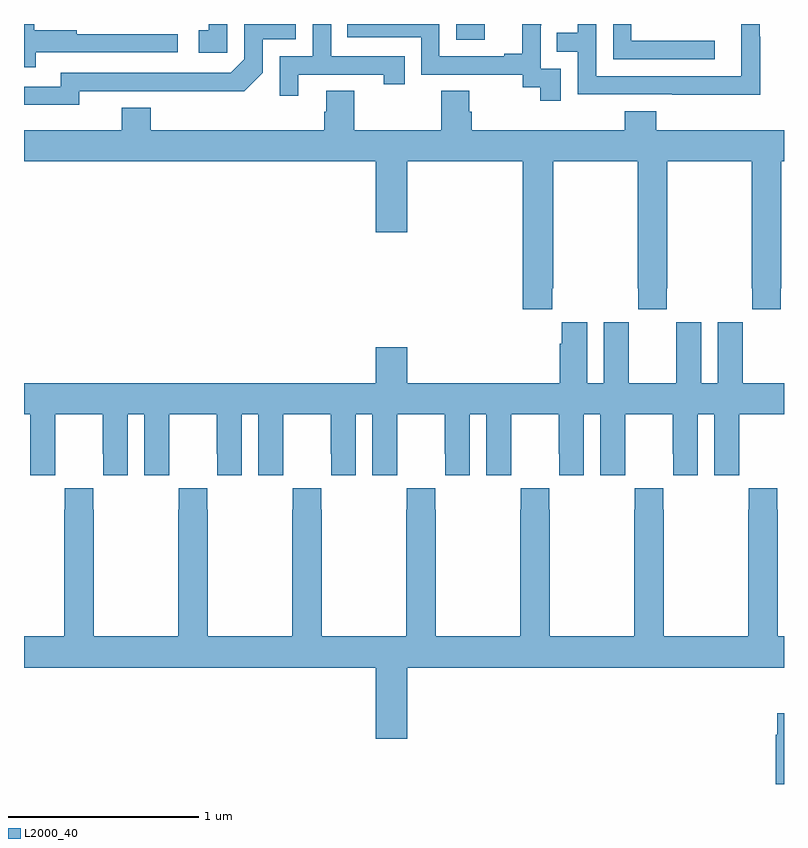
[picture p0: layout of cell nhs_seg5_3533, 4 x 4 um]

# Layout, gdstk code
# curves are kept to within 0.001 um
import gdstk
lib = gdstk.Library(unit=1e-6, precision=1e-09)
def R(c, l, rs):  # rectangles x0, y0, x1, y1
    for r in rs: c.add(gdstk.rectangle(r[:2], r[2:], *l))
def P(c, l, *ps):  # polygons
    for p in ps: c.add(gdstk.Polygon(p, *l))
L2000_40 = (2000, 40)

nhs_seg5_3533 = lib.new_cell('nhs_seg5_3533')
R(nhs_seg5_3533, L2000_40, [(321.276,874.716,321.424,874.799)])
P(nhs_seg5_3533, L2000_40, [(322.875,874.733),(322.872,874.733),(322.872,874.799),(322.776,874.799),(322.776,874.778),(322.775,874.778),(322.775,874.524),(322.011,874.524),(322.011,874.799),(321.915,874.799),(321.915,874.754),(321.805,874.754),(321.805,874.653),(321.915,874.653),(321.915,874.428),(322.411,874.428),(322.411,874.427),(322.875,874.427)],
  [(320.443,874.533),(320.894,874.533),(320.894,874.482),(321.005,874.482),(321.005,874.629),(320.616,874.629),(320.616,874.799),(320.52,874.799),(320.52,874.629),(320.346,874.629),(320.346,874.422),(320.443,874.422)],
  [(319.061,874.65),(319.81,874.65),(319.81,874.746),(319.277,874.746),(319.277,874.766),(319.054,874.766),(319.054,874.799),(319,874.799),(319,874.572),(319.061,874.572)],
  [(319.29,874.446),(320.158,874.445),(320.256,874.542),(320.256,874.719),(320.43,874.719),(320.43,874.799),(320.16,874.799),(320.16,874.614),(320.088,874.542),(319.194,874.542),(319.194,874.47),(319,874.47),(319,874.373),(319.29,874.373)],
  [(321.825,874.563),(321.72,874.563),(321.72,874.793),(321.722,874.793),(321.722,874.799),(321.623,874.799),(321.623,874.642),(321.527,874.642),(321.527,874.629),(321.186,874.629),(321.186,874.799),(320.701,874.799),(320.701,874.728),(321.09,874.728),(321.09,874.533),(321.624,874.533),(321.624,874.465),(321.717,874.465),(321.717,874.395),(321.825,874.395)],
  [(320.07,874.799),(319.973,874.799),(319.973,874.767),(319.92,874.767),(319.92,874.647),(320.07,874.647)],
  [(322.636,874.71),(322.197,874.71),(322.197,874.799),(322.101,874.799),(322.101,874.614),(322.636,874.614)],
  [(321.779,873.409),(321.786,873.409),(321.786,874.076),(322.231,874.076),(322.231,873.409),(322.233,873.409),(322.233,873.297),(322.383,873.297),(322.383,873.409),(322.386,873.409),(322.386,874.076),(322.831,874.076),(322.831,873.409),(322.833,873.409),(322.833,873.297),(322.983,873.297),(322.983,873.409),(322.986,873.409),(322.986,874.076),(323,874.076),(323,874.24),(322.328,874.24),(322.328,874.339),(322.163,874.339),(322.163,874.24),(321.356,874.24),(321.356,874.338),(321.343,874.338),(321.343,874.448),(321.196,874.448),(321.196,874.24),(320.739,874.24),(320.739,874.448),(320.591,874.448),(320.591,874.338),(320.579,874.338),(320.579,874.24),(319.667,874.24),(319.667,874.357),(319.514,874.357),(319.514,874.24),(319,874.24),(319,874.076),(320.852,874.076),(320.852,873.702),(321.016,873.702),(321.016,874.076),(321.626,874.076),(321.626,873.297),(321.779,873.297)],
  [(319.164,872.536),(319.165,872.536),(319.165,872.744),(319.415,872.744),(319.415,872.536),(319.416,872.536),(319.416,872.424),(319.546,872.424),(319.546,872.744),(319.634,872.744),(319.634,872.424),(319.764,872.424),(319.764,872.536),(319.765,872.536),(319.765,872.744),(320.015,872.744),(320.015,872.536),(320.016,872.536),(320.016,872.424),(320.146,872.424),(320.146,872.744),(320.234,872.744),(320.234,872.424),(320.364,872.424),(320.364,872.536),(320.365,872.536),(320.365,872.744),(320.615,872.744),(320.615,872.536),(320.616,872.536),(320.616,872.424),(320.746,872.424),(320.746,872.744),(320.834,872.744),(320.834,872.424),(320.964,872.424),(320.964,872.536),(320.965,872.536),(320.965,872.744),(321.215,872.744),(321.215,872.536),(321.216,872.536),(321.216,872.424),(321.346,872.424),(321.346,872.744),(321.434,872.744),(321.434,872.424),(321.564,872.424),(321.564,872.536),(321.565,872.536),(321.565,872.744),(321.815,872.744),(321.815,872.536),(321.816,872.536),(321.816,872.424),(321.946,872.424),(321.946,872.744),(322.034,872.744),(322.034,872.424),(322.164,872.424),(322.164,872.536),(322.165,872.536),(322.165,872.744),(322.415,872.744),(322.415,872.536),(322.416,872.536),(322.416,872.424),(322.546,872.424),(322.546,872.744),(322.634,872.744),(322.634,872.424),(322.764,872.424),(322.764,872.536),(322.765,872.536),(322.765,872.744),(323,872.744),(323,872.908),(322.783,872.908),(322.783,873.116),(322.782,873.116),(322.782,873.229),(322.652,873.229),(322.652,872.908),(322.564,872.908),(322.564,873.229),(322.434,873.229),(322.434,873.116),(322.433,873.116),(322.433,872.908),(322.183,872.908),(322.183,873.116),(322.182,873.116),(322.182,873.229),(322.052,873.229),(322.052,872.908),(321.964,872.908),(321.964,873.229),(321.83,873.229),(321.83,873.116),(321.821,873.116),(321.821,872.908),(321.016,872.908),(321.016,873.097),(320.852,873.097),(320.852,872.908),(319,872.908),(319,872.744),(319.034,872.744),(319.034,872.424),(319.164,872.424)],
  [(321.016,871.412),(323,871.412),(323,871.576),(322.968,871.576),(322.968,872.243),(322.965,872.243),(322.965,872.356),(322.815,872.356),(322.815,872.243),(322.813,872.243),(322.813,871.576),(322.368,871.576),(322.368,872.243),(322.365,872.243),(322.365,872.356),(322.215,872.356),(322.215,872.243),(322.213,872.243),(322.213,871.576),(321.768,871.576),(321.768,872.243),(321.765,872.243),(321.765,872.356),(321.615,872.356),(321.615,872.243),(321.613,872.243),(321.613,871.576),(321.168,871.576),(321.168,872.243),(321.165,872.243),(321.165,872.356),(321.015,872.356),(321.015,872.243),(321.013,872.243),(321.013,871.576),(320.568,871.576),(320.568,872.243),(320.565,872.243),(320.565,872.356),(320.415,872.356),(320.415,872.243),(320.413,872.243),(320.413,871.576),(319.968,871.576),(319.968,872.243),(319.965,872.243),(319.965,872.356),(319.815,872.356),(319.815,872.243),(319.813,872.243),(319.813,871.576),(319.368,871.576),(319.368,872.243),(319.365,872.243),(319.365,872.356),(319.215,872.356),(319.215,872.243),(319.213,872.243),(319.213,871.576),(319,871.576),(319,871.412),(320.852,871.412),(320.852,871.038),(321.016,871.038)],
  [(323,871.171),(322.965,871.171),(322.965,871.058),(322.957,871.058),(322.957,870.799),(323,870.799)])

lib.write_gds('nhs_seg5_3533.gds')
